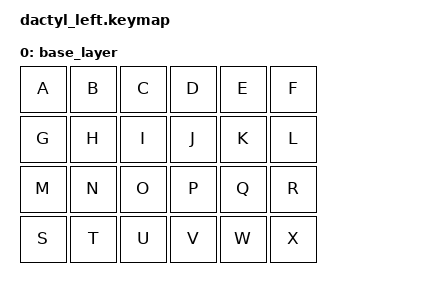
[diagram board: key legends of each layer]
#include <behaviors.dtsi>
#include <dt-bindings/zmk/keys.h>

/ {
    keymap {
        compatible = "zmk,keymap";

        base_layer {
            /* Test keymap: every key types a distinct letter so wiring is easy to verify. */
            bindings = <
                &kp A &kp B &kp C &kp D &kp E &kp F
                &kp G &kp H &kp I &kp J &kp K &kp L
                &kp M &kp N &kp O &kp P &kp Q &kp R
                &kp S &kp T &kp U &kp V &kp W &kp X
            >;
        };
    };
};
